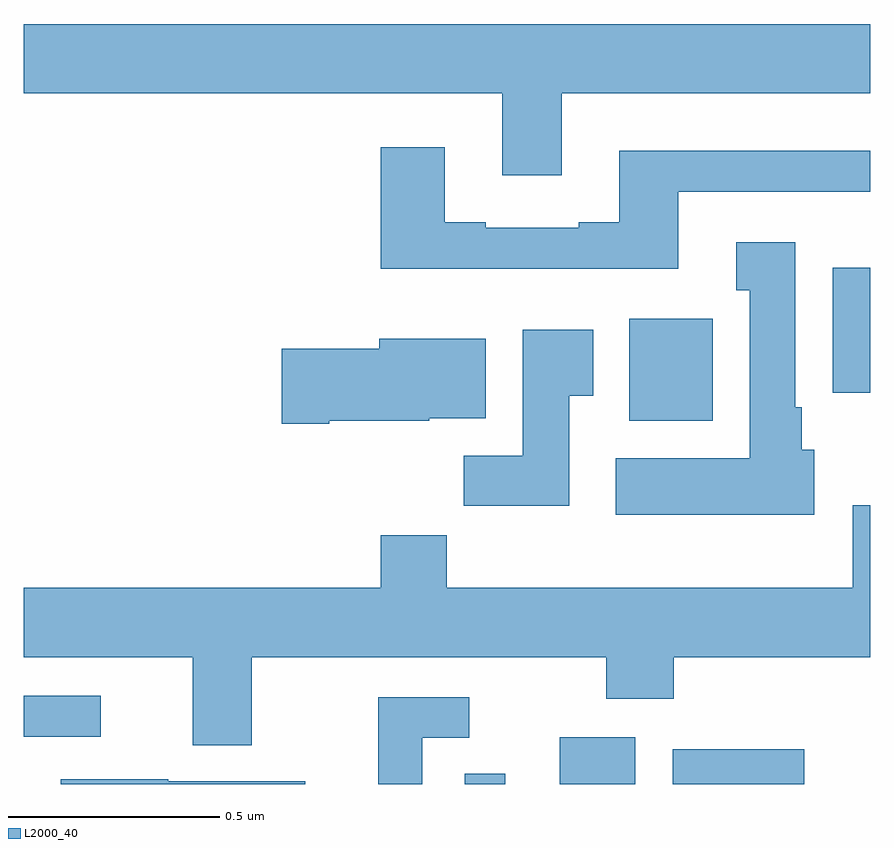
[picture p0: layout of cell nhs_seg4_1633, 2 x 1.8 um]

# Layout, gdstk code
import gdstk
lib = gdstk.Library(unit=1e-6, precision=1e-09)
def R(c, l, rs):  # rectangles x0, y0, x1, y1
    for r in rs: c.add(gdstk.rectangle(r[:2], r[2:], *l))
def P(c, l, *ps):  # polygons
    for p in ps: c.add(gdstk.Polygon(p, *l))
L2000_40 = (2000, 40)

nhs_seg4_1633 = lib.new_cell('nhs_seg4_1633')
R(nhs_seg4_1633, L2000_40, [(132.042,749.9,132.138,749.924), (132.266,749.9,132.445,750.01), (132.534,749.9,132.844,749.982), (131,750.012,131.182,750.108), (132.431,750.758,132.628,751), (132.911,750.824,133,751.12)])
P(nhs_seg4_1633, L2000_40, [(132.271,751.532),(133,751.532),(133,751.696),(131,751.696),(131,751.532),(132.131,751.532),(132.131,751.338),(132.271,751.338)],
  [(132.547,751.299),(133,751.299),(133,751.396),(132.407,751.396),(132.407,751.228),(132.311,751.228),(132.311,751.215),(132.091,751.215),(132.091,751.228),(131.995,751.228),(131.995,751.405),(131.843,751.405),(131.843,751.118),(132.547,751.118)],
  [(132.868,750.69),(132.838,750.69),(132.838,750.79),(132.823,750.79),(132.823,751.18),(132.683,751.18),(132.683,751.067),(132.716,751.067),(132.716,750.67),(132.399,750.67),(132.399,750.536),(132.868,750.536)],
  [(132.289,750.817),(132.346,750.817),(132.346,750.973),(132.179,750.973),(132.179,750.676),(132.04,750.676),(132.04,750.558),(132.289,750.558)],
  [(131.722,750.758),(131.958,750.758),(131.958,750.764),(132.091,750.764),(132.091,750.952),(131.84,750.952),(131.84,750.929),(131.61,750.929),(131.61,750.751),(131.722,750.751)],
  [(131.539,750.2),(132.376,750.2),(132.376,750.101),(132.536,750.101),(132.536,750.2),(133,750.2),(133,750.559),(132.959,750.559),(132.959,750.364),(131.999,750.364),(131.999,750.488),(131.843,750.488),(131.843,750.364),(131,750.364),(131,750.2),(131.399,750.2),(131.399,749.992),(131.539,749.992)],
  [(131.941,750.009),(132.052,750.009),(132.052,750.105),(131.837,750.105),(131.837,749.9),(131.941,749.9)],
  [(131.665,749.907),(131.341,749.907),(131.341,749.911),(131.087,749.911),(131.087,749.9),(131.665,749.9)])

lib.write_gds('nhs_seg4_1633.gds')
